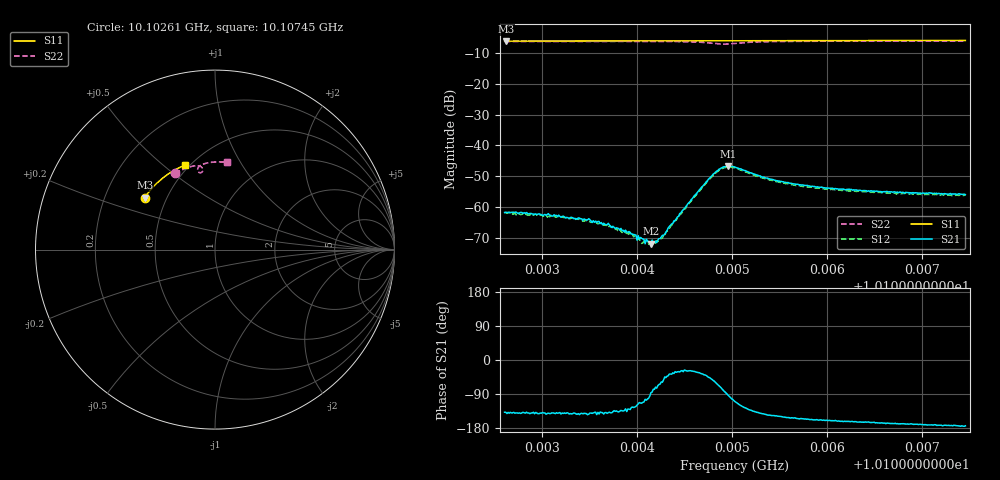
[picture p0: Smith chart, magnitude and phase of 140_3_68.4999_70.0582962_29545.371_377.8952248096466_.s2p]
#  HZ  S  RI  R  50.00
! Rohde & Schwarz Vector Network Analyzer
! Rohde-Schwarz,ZNB20-2Port,1311601062101988,3.16
! Created: UTC 3/20/2024, 5:10:00 PM
! freq[Hz]  re:S11  im:S11  re:S21  im:S21  re:S12  im:S12  re:S22  im:S22
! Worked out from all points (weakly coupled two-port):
!   401 points, 10.10261 GHz to 10.10745 GHz, reference 50 ohm
!   highest |S21| = -46.68 dB at 10.10496 GHz (marker M1); lowest = -71.8 dB at 10.10415 GHz (marker M2)
!   lowest |S11| = -6.3 dB at 10.10262 GHz (marker M3), VSWR 2.90, Z = 18.9 + j14.4 ohm
!   |S11| at or under -10 dB: nowhere
!   |S22| runs from -7.2 to -6.2 dB; largest |S21 - S12| = 0.00048
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1.0102609e10  -0.3916 0.2893  -0.00061 -0.000552  -0.00058 -0.000564  -0.2225 0.4243
1.0102621e10  -0.3909 0.2898  -0.000619 -0.000557  -0.000568 -0.000591  -0.2218 0.4247
1.0103057e10  -0.3758 0.3116  -0.000596 -0.000477  -0.000502 -0.000482  -0.1965 0.4382
1.010342e10  -0.3621 0.3289  -0.000503 -0.00041  -0.000437 -0.000439  -0.1742 0.4483
1.0103553e10  -0.3567 0.3351  -0.000428 -0.000381  -0.000417 -0.000405  -0.1657 0.4519
1.0103735e10  -0.3496 0.3436  -0.000359 -0.000308  -0.000316 -0.000359  -0.154 0.4562
1.0103941e10  -0.3411 0.3526  -0.000214 -0.000302  -0.000201 -0.000292  -0.1399 0.461
1.0104062e10  -0.336 0.3578  -0.000114 -0.000285  -5.46e-05 -0.000258  -0.1312 0.4634
1.0104098e10  -0.3345 0.3596  -8.42e-05 -0.000293  -2.42e-05 -0.000284  -0.1284 0.464
1.0104146e10  -0.3323 0.3615  1.61e-05 -0.000256  1.22e-05 -0.000243  -0.1249 0.4647
1.0104195e10  -0.3304 0.3637  8.94e-05 -0.00027  0.000115 -0.000246  -0.1211 0.4655
1.0104231e10  -0.329 0.3652  0.000134 -0.000282  0.000175 -0.000242  -0.1182 0.466
1.010428e10  -0.3267 0.3672  0.000215 -0.000278  0.000237 -0.000263  -0.1142 0.4667
1.0104582e10  -0.3132 0.3798  0.00121 -0.000682  0.00123 -0.000555  -0.0855 0.4651
1.0104776e10  -0.3043 0.3874  0.00203 -0.00233  0.00217 -0.00205  -0.0677 0.4474
1.0104873e10  -0.2998 0.3911  0.00138 -0.00394  0.00168 -0.00366  -0.0721 0.4319
1.0104957e10  -0.296 0.3943  -0.000203 -0.00463  0.000187 -0.00445  -0.0866 0.429
1.010503e10  -0.2927 0.3972  -0.0015 -0.00419  -0.00107 -0.00418  -0.0956 0.4372
1.0105393e10  -0.2753 0.4106  -0.00236 -0.00163  -0.00211 -0.00175  -0.0771 0.4716
1.0105841e10  -0.2531 0.4261  -0.00203 -0.000851  -0.00186 -0.000997  -0.0429 0.4828
1.0106652e10  -0.2106 0.4506  -0.00174 -0.000393  -0.0016 -0.000533  0.0125 0.4883
1.0107451e10  -0.1665 0.4705  -0.00159 -0.000176  -0.00154 -0.000319  0.0648 0.4865
